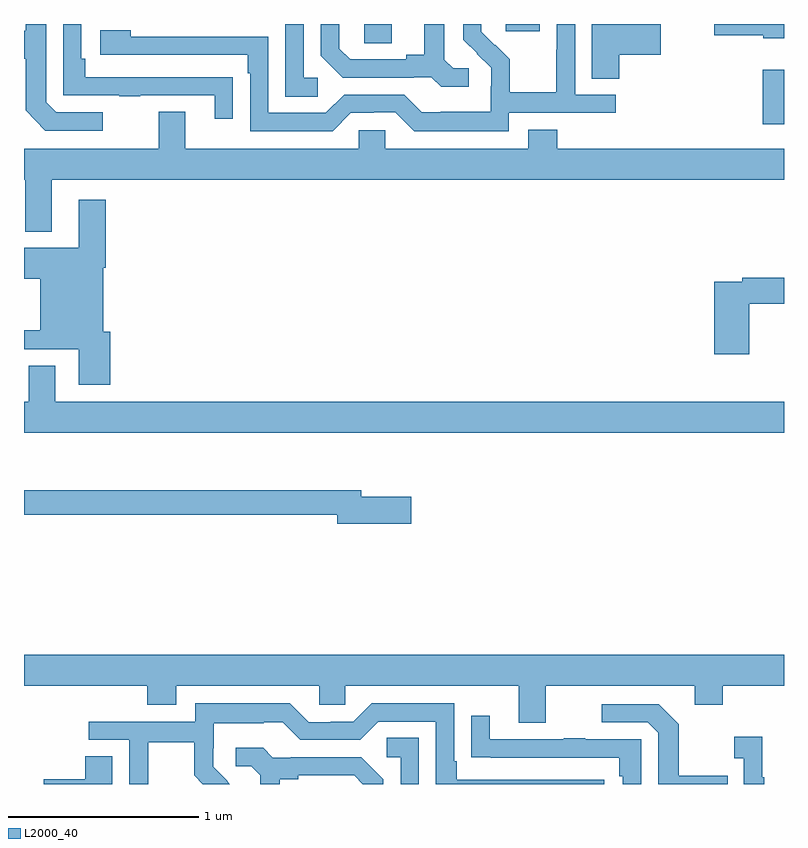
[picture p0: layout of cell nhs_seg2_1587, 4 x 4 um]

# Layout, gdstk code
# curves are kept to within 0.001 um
import gdstk
lib = gdstk.Library(unit=1e-6, precision=1e-09)
def R(c, l, rs):  # rectangles x0, y0, x1, y1
    for r in rs: c.add(gdstk.rectangle(r[:2], r[2:], *l))
def P(c, l, *ps):  # polygons
    for p in ps: c.add(gdstk.Polygon(p, *l))
L2000_40 = (2000, 40)

nhs_seg2_1587 = lib.new_cell('nhs_seg2_1587')
R(nhs_seg2_1587, L2000_40, [(196.889,637.272,197,637.558), (194.79,637.699,194.935,637.8), (195.536,637.761,195.715,637.8)])
P(nhs_seg2_1587, L2000_40, [(197,637.8),(196.634,637.8),(196.634,637.742),(196.89,637.742),(196.89,637.724),(197,637.724)],
  [(194.545,637.518),(194.472,637.518),(194.472,637.8),(194.376,637.8),(194.376,637.417),(194.545,637.417)],
  [(195.552,637.332),(196.114,637.332),(196.114,637.428),(195.9,637.428),(195.9,637.8),(195.804,637.8),(195.804,637.664),(195.802,637.664),(195.802,637.441),(195.557,637.441),(195.557,637.615),(195.48,637.692),(195.477,637.689),(195.407,637.76),(195.407,637.8),(195.312,637.8),(195.312,637.718),(195.458,637.57),(195.458,637.473),(195.456,637.473),(195.456,637.339),(195.193,637.339),(195.193,637.335),(195.093,637.335),(195,637.428),(194.685,637.428),(194.589,637.332),(194.286,637.332),(194.286,637.734),(193.562,637.734),(193.562,637.768),(193.401,637.768),(193.401,637.638),(194.177,637.638),(194.177,637.541),(194.19,637.541),(194.19,637.236),(194.625,637.236),(194.721,637.332),(194.84,637.332),(194.84,637.335),(194.955,637.335),(195.055,637.235),(195.552,637.235)],
  [(196.133,637.637),(196.351,637.637),(196.351,637.8),(195.989,637.8),(195.989,637.513),(196.133,637.513)],
  [(193.414,637.335),(193.17,637.335),(193.116,637.389),(193.116,637.8),(193.008,637.8),(193.008,637.765),(193,637.765),(193,637.618),(193.008,637.618),(193.008,637.345),(193.113,637.239),(193.414,637.239)],
  [(194.099,637.52),(193.997,637.52),(193.997,637.521),(193.322,637.521),(193.322,637.618),(193.302,637.618),(193.302,637.8),(193.206,637.8),(193.206,637.425),(193.501,637.425),(193.501,637.42),(193.613,637.42),(193.613,637.425),(194.003,637.425),(194.003,637.302),(194.099,637.302)],
  [(195.34,637.566),(195.258,637.566),(195.211,637.613),(195.211,637.8),(195.107,637.8),(195.107,637.637),(195.011,637.637),(195.011,637.614),(194.716,637.614),(194.659,637.671),(194.659,637.8),(194.562,637.8),(194.562,637.634),(194.678,637.518),(195.05,637.518),(195.05,637.521),(195.144,637.521),(195.196,637.469),(195.34,637.469)],
  [(193.147,636.98),(197,636.98),(197,637.144),(195.806,637.144),(195.806,637.243),(195.653,637.243),(195.653,637.144),(194.901,637.144),(194.901,637.242),(194.763,637.242),(194.763,637.144),(193.849,637.144),(193.849,637.339),(193.709,637.339),(193.709,637.144),(193,637.144),(193,636.98),(193.007,636.98),(193.007,636.707),(193.147,636.707)],
  [(193.454,636.18),(193.417,636.18),(193.417,636.518),(193.43,636.518),(193.43,636.874),(193.289,636.874),(193.289,636.622),(193,636.622),(193,636.458),(193.085,636.458),(193.085,636.188),(193,636.188),(193,636.087),(193.289,636.087),(193.289,635.901),(193.454,635.901)],
  [(196.817,636.328),(197,636.328),(197,636.464),(196.78,636.464),(196.78,636.444),(196.634,636.444),(196.634,636.063),(196.817,636.063)],
  [(197,635.812),(193.165,635.812),(193.165,636.002),(193.025,636.002),(193.025,635.812),(193,635.812),(193,635.648),(197,635.648)],
  [(195.037,635.313),(194.776,635.313),(194.776,635.347),(193,635.347),(193,635.218),(194.648,635.218),(194.648,635.171),(195.037,635.171)],
  [(195.745,634.316),(196.529,634.316),(196.529,634.217),(196.677,634.217),(196.677,634.316),(197,634.316),(197,634.48),(193,634.48),(193,634.316),(193.649,634.316),(193.649,634.217),(193.801,634.217),(193.801,634.316),(194.553,634.316),(194.553,634.218),(194.691,634.218),(194.691,634.316),(195.605,634.316),(195.605,634.122),(195.745,634.122)],
  [(193.653,634.02),(193.897,634.02),(193.897,633.845),(193.942,633.8),(194.084,633.8),(194.069,633.815),(194.07,633.816),(193.996,633.89),(193.996,633.987),(193.998,633.987),(193.998,634.121),(194.261,634.121),(194.261,634.125),(194.361,634.125),(194.454,634.032),(194.769,634.032),(194.865,634.128),(195.168,634.128),(195.168,633.8),(196.054,633.8),(196.054,633.822),(195.277,633.822),(195.277,633.919),(195.264,633.919),(195.264,634.224),(194.829,634.224),(194.733,634.128),(194.615,634.128),(194.615,634.125),(194.499,634.125),(194.399,634.225),(193.902,634.225),(193.902,634.128),(193.341,634.128),(193.341,634.032),(193.554,634.032),(193.554,633.8),(193.653,633.8)],
  [(196.703,633.843),(196.447,633.843),(196.447,634.115),(196.341,634.221),(196.041,634.221),(196.041,634.125),(196.284,634.125),(196.338,634.071),(196.338,633.8),(196.703,633.8)],
  [(196.248,634.035),(195.953,634.035),(195.953,634.04),(195.841,634.04),(195.841,634.035),(195.451,634.035),(195.451,634.159),(195.355,634.159),(195.355,633.94),(195.457,633.94),(195.457,633.939),(196.132,633.939),(196.132,633.842),(196.152,633.842),(196.152,633.8),(196.248,633.8)],
  [(196.897,633.835),(196.885,633.835),(196.885,634.048),(196.737,634.048),(196.737,633.935),(196.788,633.935),(196.788,633.8),(196.897,633.8)],
  [(195.078,634.043),(194.91,634.043),(194.91,633.942),(194.982,633.942),(194.982,633.8),(195.078,633.8)],
  [(194.347,633.824),(194.443,633.824),(194.443,633.846),(194.738,633.846),(194.784,633.8),(194.892,633.8),(194.892,633.826),(194.776,633.942),(194.404,633.942),(194.404,633.939),(194.31,633.939),(194.258,633.991),(194.115,633.991),(194.115,633.894),(194.196,633.894),(194.243,633.847),(194.243,633.8),(194.347,633.8)],
  [(193.465,633.947),(193.322,633.947),(193.322,633.824),(193.104,633.824),(193.104,633.8),(193.465,633.8)])

lib.write_gds('nhs_seg2_1587.gds')
